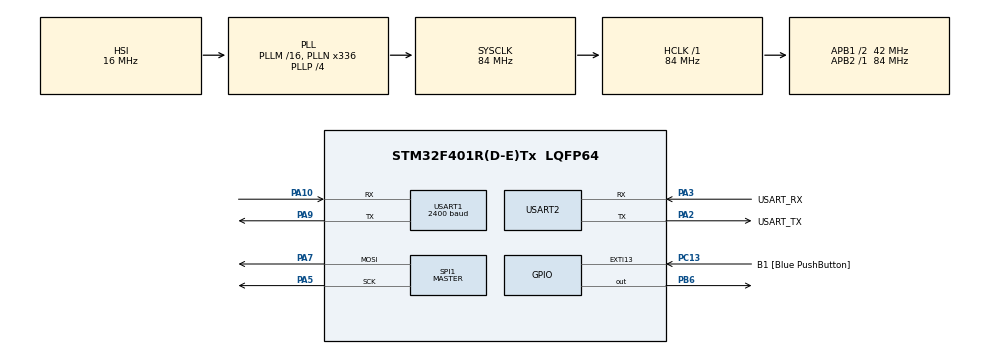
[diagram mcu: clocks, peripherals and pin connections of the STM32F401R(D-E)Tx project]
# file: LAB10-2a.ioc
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Dma.Request0=SPI1_TX
Dma.Request1=USART1_RX
Dma.SPI1_TX.0.Direction=DMA_MEMORY_TO_PERIPH
Dma.SPI1_TX.0.FIFOMode=DMA_FIFOMODE_DISABLE
Dma.SPI1_TX.0.Instance=DMA2_Stream3
Dma.SPI1_TX.0.MemDataAlignment=DMA_MDATAALIGN_BYTE
Dma.SPI1_TX.0.MemInc=DMA_MINC_ENABLE
Dma.SPI1_TX.0.Mode=DMA_NORMAL
Dma.SPI1_TX.0.PeriphDataAlignment=DMA_PDATAALIGN_BYTE
Dma.SPI1_TX.0.PeriphInc=DMA_PINC_DISABLE
Dma.SPI1_TX.0.Priority=DMA_PRIORITY_LOW
Dma.USART1_RX.1.Direction=DMA_PERIPH_TO_MEMORY
Dma.USART1_RX.1.FIFOMode=DMA_FIFOMODE_DISABLE
Dma.USART1_RX.1.Instance=DMA2_Stream2
Dma.USART1_RX.1.MemDataAlignment=DMA_MDATAALIGN_BYTE
Dma.USART1_RX.1.MemInc=DMA_MINC_ENABLE
Dma.USART1_RX.1.Mode=DMA_NORMAL
Dma.USART1_RX.1.PeriphDataAlignment=DMA_PDATAALIGN_BYTE
Dma.USART1_RX.1.PeriphInc=DMA_PINC_DISABLE
Dma.USART1_RX.1.Priority=DMA_PRIORITY_LOW
Mcu.Family=STM32F4
Mcu.Name=STM32F401R(D-E)Tx
Mcu.Package=LQFP64
NVIC.DMA2_Stream2_IRQn=true\:0\:0\:false\:false\:true\:false\:true\:true
NVIC.DMA2_Stream3_IRQn=true\:0\:0\:false\:false\:true\:false\:true\:true
NVIC.PriorityGroup=NVIC_PRIORITYGROUP_4
NVIC.TIM4_IRQn=true\:0\:0\:false\:false\:true\:true\:true\:true
NVIC.USART1_IRQn=true\:0\:0\:false\:false\:true\:true\:true\:true
PA10.Mode=Asynchronous
PA10.Signal=USART1_RX
PA13.GPIO_Label=TMS
PA13.Mode=Trace_Asynchronous_SW
PA13.Signal=SYS_JTMS-SWDIO
PA14.GPIO_Label=TCK
PA14.Mode=Trace_Asynchronous_SW
PA14.Signal=SYS_JTCK-SWCLK
PA2.GPIO_Label=USART_TX
PA2.GPIO_Mode=GPIO_MODE_AF_PP
PA2.GPIO_PuPd=GPIO_NOPULL
PA2.GPIO_Speed=GPIO_SPEED_FREQ_LOW
PA2.Mode=Asynchronous
PA2.Signal=USART2_TX
PA3.GPIO_Label=USART_RX
PA3.GPIO_Mode=GPIO_MODE_AF_PP
PA3.GPIO_PuPd=GPIO_NOPULL
PA3.GPIO_Speed=GPIO_SPEED_FREQ_LOW
PA3.Mode=Asynchronous
PA3.Signal=USART2_RX
PA5.Mode=TX_Only_Simplex_Unidirect_Master
PA5.Signal=SPI1_SCK
PA7.Mode=TX_Only_Simplex_Unidirect_Master
PA7.Signal=SPI1_MOSI
PA9.Mode=Asynchronous
PA9.Signal=USART1_TX
PB3.GPIO_Label=SWO
PB3.Mode=Trace_Asynchronous_SW
PB3.Signal=SYS_JTDO-SWO
PB6.Signal=GPIO_Output
PC13-ANTI_TAMP.GPIO_Label=B1 [Blue PushButton]
PC13-ANTI_TAMP.GPIO_ModeDefaultEXTI=GPIO_MODE_IT_FALLING
PC13-ANTI_TAMP.GPIO_PuPd=GPIO_NOPULL
PC13-ANTI_TAMP.Signal=GPXTI13
PC14-OSC32_IN.Mode=LSE-External-Oscillator
PC14-OSC32_IN.Signal=RCC_OSC32_IN
PC15-OSC32_OUT.Mode=LSE-External-Oscillator
PC15-OSC32_OUT.Signal=RCC_OSC32_OUT
PH0\ -\ OSC_IN.Mode=HSE-External-Clock-Source
PH0\ -\ OSC_IN.Signal=RCC_OSC_IN
PH1\ -\ OSC_OUT.Mode=HSE-External-Clock-Source
PH1\ -\ OSC_OUT.Signal=RCC_OSC_OUT
ProjectManager.HeapSize=0x200
ProjectManager.StackSize=0x400
ProjectManager.TargetToolchain=STM32CubeIDE
RCC.48MHZClocksFreq_Value=48000000
RCC.AHBFreq_Value=84000000
RCC.APB1CLKDivider=RCC_HCLK_DIV2
RCC.APB1Freq_Value=42000000
RCC.APB1TimFreq_Value=84000000
RCC.APB2Freq_Value=84000000
RCC.APB2TimFreq_Value=84000000
RCC.CortexFreq_Value=84000000
RCC.HCLKFreq_Value=84000000
RCC.HSE_VALUE=8000000
RCC.HSI_VALUE=16000000
RCC.PLLN=336
RCC.PLLP=RCC_PLLP_DIV4
RCC.PLLQ=7
RCC.SYSCLKFreq_VALUE=84000000
RCC.SYSCLKSource=RCC_SYSCLKSOURCE_PLLCLK
RCC.VCOOutputFreq_Value=336000000
SPI1.BaudRatePrescaler=SPI_BAUDRATEPRESCALER_4
SPI1.Direction=SPI_DIRECTION_2LINES
SPI1.Mode=SPI_MODE_MASTER
SPI1.VirtualType=VM_MASTER
TIM4.Period=39
TIM4.Prescaler=8399
USART1.BaudRate=2400
USART1.VirtualMode=VM_ASYNC
USART2.VirtualMode=VM_ASYNC
VP_TIM4_VS_ClockSourceINT.Mode=Internal
board=NUCLEO-F401RE

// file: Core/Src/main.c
/* USER CODE BEGIN Header */
/**
  ******************************************************************************
  * @file           : main.c
  * @brief          : Main program body
  ******************************************************************************
  * @attention
  *
  * Copyright (c) 2026 STMicroelectronics.
  * All rights reserved.
  *
  * This software is licensed under terms that can be found in the LICENSE file
  * in the root directory of this software component.
  * If no LICENSE file comes with this software, it is provided AS-IS.
  *
  ******************************************************************************
  */
/* USER CODE END Header */
#include "main.h"

SPI_HandleTypeDef hspi1;
DMA_HandleTypeDef hdma_spi1_tx;

TIM_HandleTypeDef htim4;

UART_HandleTypeDef huart1;
UART_HandleTypeDef huart2;
DMA_HandleTypeDef hdma_usart1_rx;

/* USER CODE BEGIN PV */

/* LED matrix variables ------------------------------------------------------*/

// 5-column pattern for the led matrix letters
const uint8_t led_matrix_letters[16][5][2] = {
	{{62,  16}, {113, 8}, {73,  4}, {71,  2}, {62,  1}}, // Number 0
	{{33,  16}, {65,  8}, {127, 4}, {1,   2}, {1,   1}}, // Number 1
	{{35,  16}, {69,  8}, {73,  4}, {81,  2}, {33,  1}}, // Number 2
	{{65,  16}, {73,  8}, {73,  4}, {73,  2}, {54,  1}}, // Number 3
	{{120, 16}, {8,   8}, {8,   4}, {127, 2}, {8,   1}}, // Number 4
	{{121, 16}, {73,  8}, {73,  4}, {73,  2}, {70,  1}}, // Number 5
	{{62,  16}, {73,  8}, {73,  4}, {73,  2}, {70,  1}}, // Number 6
	{{64,  16}, {64,  8}, {67,  4}, {76,  2}, {112, 1}}, // Number 7
	{{54,  16}, {73,  8}, {73,  4}, {73,  2}, {54,  1}}, // Number 8
	{{48,  16}, {72,  8}, {72,  4}, {72,  2}, {63,  1}}, // Number 9
	{{31,  16}, {36,  8}, {68,  4}, {36,  2}, {31,  1}}, // Letter A
	{{127, 16}, {73,  8}, {73,  4}, {73,  2}, {54,  1}}, // Letter B
	{{62,  16}, {65,  8}, {65,  4}, {65,  2}, {34,  1}}, // Letter C
	{{127, 16}, {65,  8}, {65,  4}, {65,  2}, {62,  1}}, // Letter D
	{{127, 16}, {73,  8}, {73,  4}, {73,  2}, {65,  1}}, // Letter E
	{{127, 16}, {72,  8}, {72,  4}, {72,  2}, {64,  1}}, // Letter F
};

uint8_t led_current_column = 0;
uint8_t led_current_char_index = 0;

// SPI buffer
uint8_t tx_buffer[2];

/* IR receive variables ------------------------------------------------------*/

uint8_t IR_rx_byte;

/* USER CODE END PV */

void SystemClock_Config(void);
static void MX_GPIO_Init(void);
static void MX_DMA_Init(void);
static void MX_USART2_UART_Init(void);
static void MX_SPI1_Init(void);
static void MX_USART1_UART_Init(void);
static void MX_TIM4_Init(void);

/* USER CODE BEGIN 0 */

// This function refreshes the LED matrix display by sending the current column data via SPI.
void led_refresh_routine()
{
  // Load the buffer explicitly safely for DMA
  tx_buffer[0] = led_matrix_letters[led_current_char_index][led_current_column][0];
  tx_buffer[1] = led_matrix_letters[led_current_char_index][led_current_column][1];

  // Pull the RCLK pin LOW
  HAL_GPIO_WritePin(GPIOB, GPIO_PIN_6, GPIO_PIN_RESET);

  // Start the 2-byte SPI transfer using DMA and the dedicated buffer
  HAL_SPI_Transmit_DMA(&hspi1, tx_buffer, 2);
}

/* USER CODE END 0 */

int main(void)
{

  /* MCU Configuration--------------------------------------------------------*/

  /* Reset of all peripherals, Initializes the Flash interface and the Systick. */
  HAL_Init();

  /* Configure the system clock */
  SystemClock_Config();

  /* Initialize all configured peripherals */
  MX_GPIO_Init();
  MX_DMA_Init();
  MX_USART2_UART_Init();
  MX_SPI1_Init();
  MX_USART1_UART_Init();
  MX_TIM4_Init();
  /* USER CODE BEGIN 2 */

  // Start listening for incoming IR UART data
  HAL_UART_Receive_DMA(&huart1, &IR_rx_byte, 1);

  // Start the polling timer
  HAL_TIM_Base_Start_IT(&htim4);

  /* USER CODE END 2 */

  /* Infinite loop */
  while (1)
  {

  }
}

void SystemClock_Config(void)
{
  RCC_OscInitTypeDef RCC_OscInitStruct = {0};
  RCC_ClkInitTypeDef RCC_ClkInitStruct = {0};

  /** Configure the main internal regulator output voltage
  */
  __HAL_RCC_PWR_CLK_ENABLE();
  __HAL_PWR_VOLTAGESCALING_CONFIG(PWR_REGULATOR_VOLTAGE_SCALE2);

  /** Initializes the RCC Oscillators according to the specified parameters
  * in the RCC_OscInitTypeDef structure.
  */
  RCC_OscInitStruct.OscillatorType = RCC_OSCILLATORTYPE_HSI;
  RCC_OscInitStruct.HSIState = RCC_HSI_ON;
  RCC_OscInitStruct.HSICalibrationValue = RCC_HSICALIBRATION_DEFAULT;
  RCC_OscInitStruct.PLL.PLLState = RCC_PLL_ON;
  RCC_OscInitStruct.PLL.PLLSource = RCC_PLLSOURCE_HSI;
  RCC_OscInitStruct.PLL.PLLM = 16;
  RCC_OscInitStruct.PLL.PLLN = 336;
  RCC_OscInitStruct.PLL.PLLP = RCC_PLLP_DIV4;
  RCC_OscInitStruct.PLL.PLLQ = 7;
  if (HAL_RCC_OscConfig(&RCC_OscInitStruct) != HAL_OK)
  {
    Error_Handler();
  }

  /** Initializes the CPU, AHB and APB buses clocks
  */
  RCC_ClkInitStruct.ClockType = RCC_CLOCKTYPE_HCLK|RCC_CLOCKTYPE_SYSCLK
                              |RCC_CLOCKTYPE_PCLK1|RCC_CLOCKTYPE_PCLK2;
  RCC_ClkInitStruct.SYSCLKSource = RCC_SYSCLKSOURCE_PLLCLK;
  RCC_ClkInitStruct.AHBCLKDivider = RCC_SYSCLK_DIV1;
  RCC_ClkInitStruct.APB1CLKDivider = RCC_HCLK_DIV2;
  RCC_ClkInitStruct.APB2CLKDivider = RCC_HCLK_DIV1;

  if (HAL_RCC_ClockConfig(&RCC_ClkInitStruct, FLASH_LATENCY_2) != HAL_OK)
  {
    Error_Handler();
  }
}

static void MX_SPI1_Init(void)
{

  /* SPI1 parameter configuration*/
  hspi1.Instance = SPI1;
  hspi1.Init.Mode = SPI_MODE_MASTER;
  hspi1.Init.Direction = SPI_DIRECTION_2LINES;
  hspi1.Init.DataSize = SPI_DATASIZE_8BIT;
  hspi1.Init.CLKPolarity = SPI_POLARITY_LOW;
  hspi1.Init.CLKPhase = SPI_PHASE_1EDGE;
  hspi1.Init.NSS = SPI_NSS_SOFT;
  hspi1.Init.BaudRatePrescaler = SPI_BAUDRATEPRESCALER_4;
  hspi1.Init.FirstBit = SPI_FIRSTBIT_MSB;
  hspi1.Init.TIMode = SPI_TIMODE_DISABLE;
  hspi1.Init.CRCCalculation = SPI_CRCCALCULATION_DISABLE;
  hspi1.Init.CRCPolynomial = 10;
  if (HAL_SPI_Init(&hspi1) != HAL_OK)
  {
    Error_Handler();
  }

}

static void MX_TIM4_Init(void)
{

  TIM_ClockConfigTypeDef sClockSourceConfig = {0};
  TIM_MasterConfigTypeDef sMasterConfig = {0};

  htim4.Instance = TIM4;
  htim4.Init.Prescaler = 8399;
  htim4.Init.CounterMode = TIM_COUNTERMODE_UP;
  htim4.Init.Period = 39;
  htim4.Init.ClockDivision = TIM_CLOCKDIVISION_DIV1;
  htim4.Init.AutoReloadPreload = TIM_AUTORELOAD_PRELOAD_DISABLE;
  if (HAL_TIM_Base_Init(&htim4) != HAL_OK)
  {
    Error_Handler();
  }
  sClockSourceConfig.ClockSource = TIM_CLOCKSOURCE_INTERNAL;
  if (HAL_TIM_ConfigClockSource(&htim4, &sClockSourceConfig) != HAL_OK)
  {
    Error_Handler();
  }
  sMasterConfig.MasterOutputTrigger = TIM_TRGO_RESET;
  sMasterConfig.MasterSlaveMode = TIM_MASTERSLAVEMODE_DISABLE;
  if (HAL_TIMEx_MasterConfigSynchronization(&htim4, &sMasterConfig) != HAL_OK)
  {
    Error_Handler();
  }

}

static void MX_USART1_UART_Init(void)
{

  huart1.Instance = USART1;
  huart1.Init.BaudRate = 2400;
  huart1.Init.WordLength = UART_WORDLENGTH_8B;
  huart1.Init.StopBits = UART_STOPBITS_1;
  huart1.Init.Parity = UART_PARITY_NONE;
  huart1.Init.Mode = UART_MODE_TX_RX;
  huart1.Init.HwFlowCtl = UART_HWCONTROL_NONE;
  huart1.Init.OverSampling = UART_OVERSAMPLING_16;
  if (HAL_UART_Init(&huart1) != HAL_OK)
  {
    Error_Handler();
  }

}

static void MX_USART2_UART_Init(void)
{

  huart2.Instance = USART2;
  huart2.Init.BaudRate = 115200;
  huart2.Init.WordLength = UART_WORDLENGTH_8B;
  huart2.Init.StopBits = UART_STOPBITS_1;
  huart2.Init.Parity = UART_PARITY_NONE;
  huart2.Init.Mode = UART_MODE_TX_RX;
  huart2.Init.HwFlowCtl = UART_HWCONTROL_NONE;
  huart2.Init.OverSampling = UART_OVERSAMPLING_16;
  if (HAL_UART_Init(&huart2) != HAL_OK)
  {
    Error_Handler();
  }

}

static void MX_DMA_Init(void)
{

  /* DMA controller clock enable */
  __HAL_RCC_DMA2_CLK_ENABLE();

  /* DMA interrupt init */
  /* DMA2_Stream2_IRQn interrupt configuration */
  HAL_NVIC_SetPriority(DMA2_Stream2_IRQn, 0, 0);
  HAL_NVIC_EnableIRQ(DMA2_Stream2_IRQn);
  /* DMA2_Stream3_IRQn interrupt configuration */
  HAL_NVIC_SetPriority(DMA2_Stream3_IRQn, 0, 0);
  HAL_NVIC_EnableIRQ(DMA2_Stream3_IRQn);

}

static void MX_GPIO_Init(void)
{
  GPIO_InitTypeDef GPIO_InitStruct = {0};

  /* GPIO Ports Clock Enable */
  __HAL_RCC_GPIOC_CLK_ENABLE();
  __HAL_RCC_GPIOH_CLK_ENABLE();
  __HAL_RCC_GPIOA_CLK_ENABLE();
  __HAL_RCC_GPIOB_CLK_ENABLE();

  /*Configure GPIO pin Output Level */
  HAL_GPIO_WritePin(GPIOB, GPIO_PIN_6, GPIO_PIN_RESET);

  /*Configure GPIO pin : B1_Pin */
  GPIO_InitStruct.Pin = B1_Pin;
  GPIO_InitStruct.Mode = GPIO_MODE_IT_FALLING;
  GPIO_InitStruct.Pull = GPIO_NOPULL;
  HAL_GPIO_Init(B1_GPIO_Port, &GPIO_InitStruct);

  /*Configure GPIO pin : PB6 */
  GPIO_InitStruct.Pin = GPIO_PIN_6;
  GPIO_InitStruct.Mode = GPIO_MODE_OUTPUT_PP;
  GPIO_InitStruct.Pull = GPIO_NOPULL;
  GPIO_InitStruct.Speed = GPIO_SPEED_FREQ_LOW;
  HAL_GPIO_Init(GPIOB, &GPIO_InitStruct);

}

/* USER CODE BEGIN 4 */

// This callback is triggered when the SPI transmission is complete.
void HAL_SPI_TxCpltCallback(SPI_HandleTypeDef *hspi)
{
  if (hspi->Instance == SPI1) {

    // Latch the 16 bits to output the pins
    HAL_GPIO_WritePin(GPIOB, GPIO_PIN_6, GPIO_PIN_SET);

    // Increment the column index
    led_current_column = (led_current_column + 1) % 5;
  }
}

// This callback is triggered when the UART reception is complete.
void HAL_UART_RxCpltCallback(UART_HandleTypeDef *huart)
{
  // Decode ASCII to index for led_matrix_letters
  if (IR_rx_byte >= '0' && IR_rx_byte <= '9') {

	  led_current_char_index = IR_rx_byte - '0';

  } else if (IR_rx_byte >= 'A' && IR_rx_byte <= 'F') {

	  led_current_char_index = IR_rx_byte - 'A' + 10;
  }

  // Restart reception for the next byte
  HAL_UART_Receive_DMA(&huart1, &IR_rx_byte, 1);
}

// This callback is triggered when a UART error occurs.
void HAL_UART_ErrorCallback(UART_HandleTypeDef *huart)
{
  // If the IR receiver gets overwhelmed by noise and crashes, just restart it.
  if (huart->Instance == USART1) {
    HAL_UART_Receive_DMA(&huart1, &IR_rx_byte, 1);
  }
}

// This callback is triggered when a timer period elapses.
void HAL_TIM_PeriodElapsedCallback(TIM_HandleTypeDef *htim)
{
  // LED Multiplexing
  if (htim->Instance == TIM4) {
    led_refresh_routine();
  }
}

/* USER CODE END 4 */

void Error_Handler(void)
{
  __disable_irq();
  while (1)
  {
  }
}
